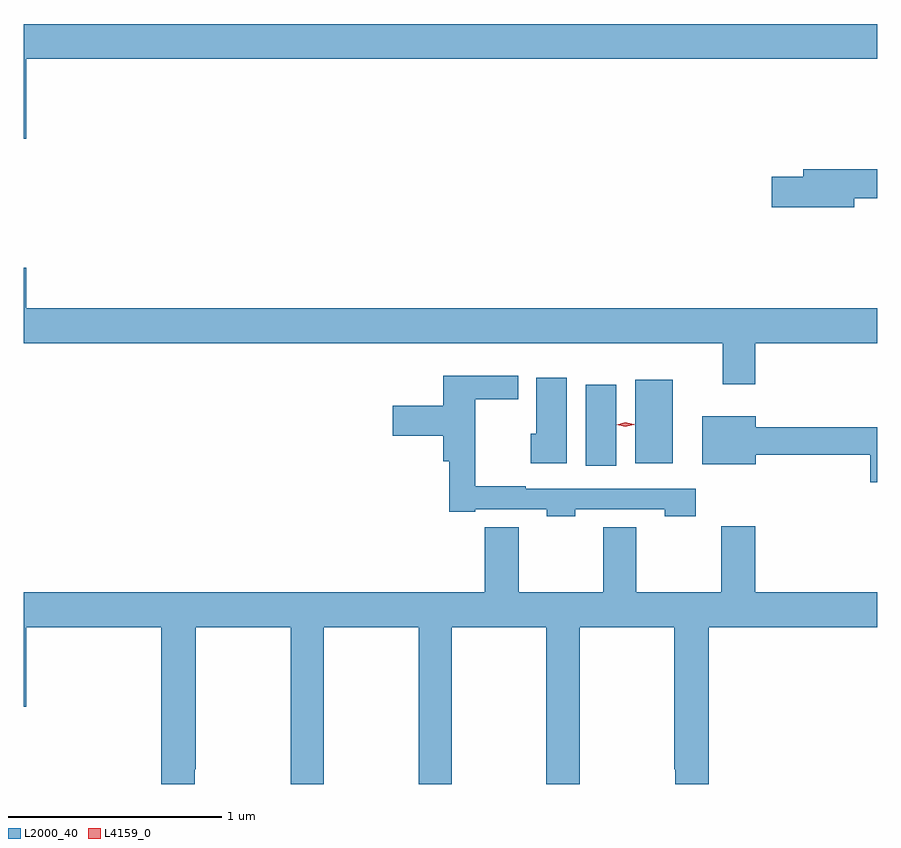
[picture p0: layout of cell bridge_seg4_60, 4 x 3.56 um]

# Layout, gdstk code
import gdstk
lib = gdstk.Library(unit=1e-6, precision=1e-09)
def R(c, l, rs):  # rectangles x0, y0, x1, y1
    for r in rs: c.add(gdstk.rectangle(r[:2], r[2:], *l))
def P(c, l, *ps):  # polygons
    for p in ps: c.add(gdstk.Polygon(p, *l))
L2000_40 = (2000, 40)
L4159_0 = (4159, 0)

bridge_seg4_60 = lib.new_cell('bridge_seg4_60')
R(bridge_seg4_60, L2000_40, [(635.327,813.56,635.47,813.94), (635.558,813.572,635.734,813.964)])
P(bridge_seg4_60, L2000_40, [(632.704,815.468),(636.693,815.468),(636.693,815.632),(632.693,815.632),(632.693,815.094),(632.704,815.094)],
  [(636.586,814.816),(636.693,814.816),(636.693,814.952),(636.347,814.952),(636.347,814.916),(636.198,814.916),(636.198,814.774),(636.586,814.774)],
  [(636.122,814.136),(636.693,814.136),(636.693,814.3),(632.704,814.3),(632.704,814.489),(632.693,814.489),(632.693,814.136),(635.969,814.136),(635.969,813.942),(636.122,813.942)],
  [(635.277,813.357),(635.697,813.357),(635.697,813.325),(635.842,813.325),(635.842,813.453),(635.045,813.453),(635.045,813.466),(634.808,813.466),(634.808,813.717),(634.81,813.717),(634.81,813.873),(635.011,813.873),(635.011,813.982),(634.658,813.982),(634.658,813.843),(634.422,813.843),(634.422,813.701),(634.658,813.701),(634.658,813.581),(634.687,813.581),(634.687,813.345),(634.81,813.345),(634.81,813.357),(635.145,813.357),(635.145,813.325),(635.277,813.325)],
  [(635.239,813.973),(635.096,813.973),(635.096,813.712),(635.069,813.712),(635.069,813.572),(635.239,813.572)],
  [(636.693,813.742),(636.124,813.742),(636.124,813.793),(635.873,813.793),(635.873,813.569),(636.124,813.569),(636.124,813.613),(636.661,813.613),(636.661,813.484),(636.693,813.484)],
  [(633.493,812.137),(633.498,812.137),(633.498,812.804),(633.943,812.804),(633.943,812.069),(634.098,812.069),(634.098,812.804),(634.543,812.804),(634.543,812.069),(634.698,812.069),(634.698,812.804),(635.143,812.804),(635.143,812.069),(635.298,812.069),(635.298,812.804),(635.743,812.804),(635.743,812.137),(635.747,812.137),(635.747,812.069),(635.903,812.069),(635.903,812.804),(636.693,812.804),(636.693,812.968),(636.122,812.968),(636.122,813.277),(635.962,813.277),(635.962,812.968),(635.564,812.968),(635.564,813.272),(635.41,813.272),(635.41,812.968),(635.012,812.968),(635.012,813.272),(634.853,813.272),(634.853,812.968),(632.693,812.968),(632.693,812.43),(632.704,812.43),(632.704,812.804),(633.338,812.804),(633.338,812.069),(633.493,812.069)])
P(bridge_seg4_60, L4159_0, [(635.513,813.744),(635.473,813.754),(635.472,813.754),(635.473,813.754),(635.513,813.764),(635.554,813.755),(635.554,813.754),(635.554,813.754)])

lib.write_gds('bridge_seg4_60.gds')
